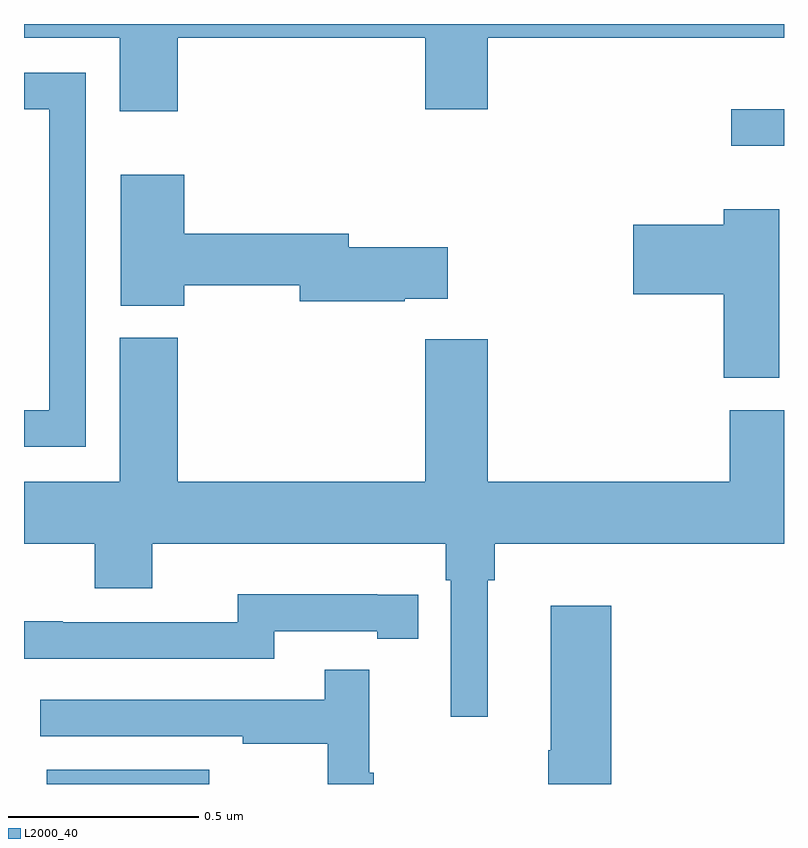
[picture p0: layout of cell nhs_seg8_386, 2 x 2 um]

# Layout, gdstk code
import gdstk
lib = gdstk.Library(unit=1e-6, precision=1e-09)
def R(c, l, rs):  # rectangles x0, y0, x1, y1
    for r in rs: c.add(gdstk.rectangle(r[:2], r[2:], *l))
def P(c, l, *ps):  # polygons
    for p in ps: c.add(gdstk.Polygon(p, *l))
L2000_40 = (2000, 40)

nhs_seg8_386 = lib.new_cell('nhs_seg8_386')
R(nhs_seg8_386, L2000_40, [(116.06,1083.9,116.488,1083.937), (117.861,1085.58,118,1085.676)])
P(nhs_seg8_386, L2000_40, [(116.405,1085.864),(117.056,1085.864),(117.056,1085.676),(117.22,1085.676),(117.22,1085.864),(118,1085.864),(118,1085.9),(116,1085.9),(116,1085.864),(116.252,1085.864),(116.252,1085.67),(116.405,1085.67)],
  [(116.163,1085.772),(116,1085.772),(116,1085.676),(116.067,1085.676),(116.067,1084.883),(116,1084.883),(116,1084.788),(116.163,1084.788)],
  [(116.422,1085.212),(116.726,1085.212),(116.726,1085.17),(117.002,1085.17),(117.002,1085.177),(117.115,1085.177),(117.115,1085.312),(116.854,1085.312),(116.854,1085.348),(116.422,1085.348),(116.422,1085.503),(116.255,1085.503),(116.255,1085.159),(116.422,1085.159)],
  [(117.988,1085.413),(117.842,1085.413),(117.842,1085.372),(117.603,1085.372),(117.603,1085.189),(117.842,1085.189),(117.842,1084.969),(117.988,1084.969)],
  [(117.22,1084.436),(117.239,1084.436),(117.239,1084.532),(118,1084.532),(118,1084.884),(117.857,1084.884),(117.857,1084.696),(117.22,1084.696),(117.22,1085.071),(117.056,1085.071),(117.056,1084.696),(116.405,1084.696),(116.405,1085.074),(116.252,1085.074),(116.252,1084.696),(116,1084.696),(116,1084.532),(116.186,1084.532),(116.186,1084.415),(116.338,1084.415),(116.338,1084.532),(117.11,1084.532),(117.11,1084.436),(117.123,1084.436),(117.123,1084.077),(117.22,1084.077)],
  [(116.658,1084.302),(116.93,1084.302),(116.93,1084.282),(117.038,1084.282),(117.038,1084.398),(116.93,1084.398),(116.93,1084.399),(116.562,1084.399),(116.562,1084.326),(116.102,1084.326),(116.102,1084.328),(116,1084.328),(116,1084.23),(116.658,1084.23)],
  [(117.545,1084.369),(117.386,1084.369),(117.386,1083.989),(117.379,1083.989),(117.379,1083.9),(117.545,1083.9)],
  [(116.92,1083.929),(116.909,1083.929),(116.909,1084.201),(116.791,1084.201),(116.791,1084.122),(116.043,1084.122),(116.043,1084.026),(116.575,1084.026),(116.575,1084.006),(116.799,1084.006),(116.799,1083.9),(116.92,1083.9)])

lib.write_gds('nhs_seg8_386.gds')
